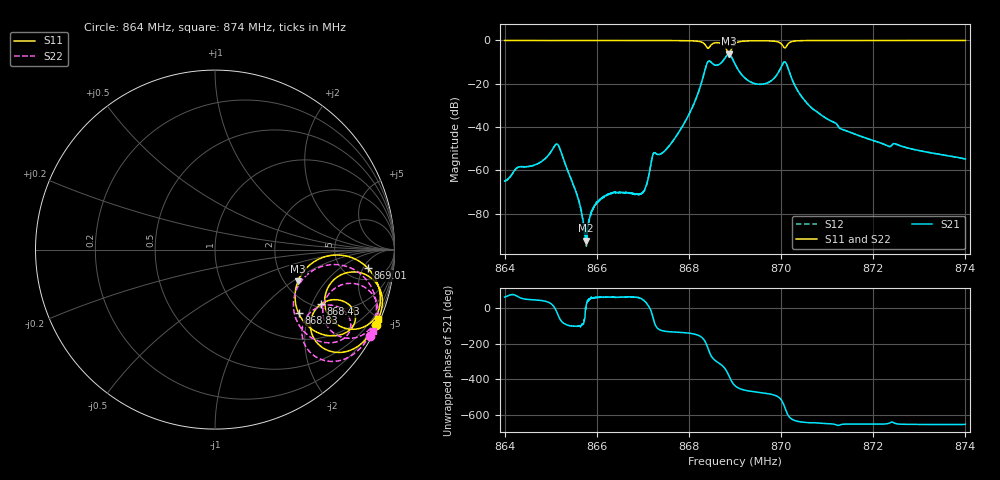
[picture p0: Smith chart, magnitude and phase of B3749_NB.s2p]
! Matrix data file written by TouchstoneData, EPCOS AG
! FILENAME: "B3749_NB.s2p"
! COMMENT: "(B3749_NB.s2p) EPCOS AG 12.10.2011 09:56:13"
! INFO: nport=2, nfreq=1601
! DATE: "Thu Nov 17 12:38:10 2011"
! USER: "Wilfried Schott"
! port | pin | signal
!  1  |  2  |  IN
!  2  |  4  |  OUT
# MHZ S MA R 50
! freq  magS11 angS11  magS21 angS21  magS12 angS12  magS22 angS22
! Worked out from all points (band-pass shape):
!   1601 points, 864 MHz to 874 MHz, reference 50 ohm
!   highest |S21| = -6.48 dB at 868.86 MHz (marker M1); lowest = -92.3 dB at 865.76 MHz (marker M2)
!   |S21| within 3 dB of the highest: 868.7387 MHz to 868.9661 MHz (227.4 kHz wide, 0.0262 % of centre)
!   lowest |S11| = -6.1 dB at 868.87 MHz (marker M3), VSWR 2.96, Z = 118 - j54.9 ohm
!   |S11| at or under -10 dB: nowhere
!   |S22| runs from -5.9 to -0.1 dB; largest |S21 - S12| = 0.00058
!   S11 on the Smith chart (normalised r, x): 864 MHz: 0.12, -4.47; 868.43 MHz: 2.15, -2.34; 868.83 MHz: 1.60, -1.72; 869.01 MHz: 8, -6; 874 MHz: 0.14, -4.88
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864  0.9886 -25.2  0.0005703 61.4  0.0005644 61.0  0.9891 -29.2
865.1375  0.9837 -25.6  0.00406 -26.0  0.004044 -26.2  0.9834 -29.7
865.6688  0.987 -25.8  0.0001112 -98.7  0.0001159 -93.3  0.9865 -29.9
865.7625  0.9869 -25.9  2.436e-05 -6.9  2.684e-05 -15.0  0.9863 -30.0
866.2625  0.9863 -26.3  0.0002795 61.8  0.0002857 62.7  0.9857 -30.4
866.975  0.9854 -27.2  0.0002893 52.3  0.0002899 50.6  0.9846 -31.3
867.225  0.9826 -27.7  0.002428 -58.3  0.002426 -58.3  0.9816 -31.8
867.3375  0.9839 -27.9  0.002327 -117.9  0.002321 -117.8  0.9832 -32.1
867.9438  0.976 -31.2  0.01495 -139.5  0.01496 -139.5  0.9749 -35.4
868.2938  0.8918 -40.0  0.1265 -168.1  0.1266 -168.0  0.8868 -44.5
868.4312  0.6644 -27.2  0.3322 120.2  0.3324 120.1  0.6471 -30.6
868.5875  0.8778 -27.4  0.2652 61.7  0.2653 61.7  0.8759 -30.8
868.825  0.5851 -37.3  0.4479 2.2  0.4482 2.2  0.5922 -40.5
868.8625  0.4966 -24.0  0.4744 -17.7  0.4746 -17.7  0.5071 -27.7
868.8687  0.4947 -20.8  0.4742 -21.3  0.4744 -21.3  0.5054 -24.6
869  0.8379 -5.9  0.2833 -76.8  0.2834 -76.7  0.8402 -10.3
869.0125  0.856 -6.8  0.2668 -79.5  0.2669 -79.5  0.858 -11.1
869.5625  0.9729 -21.5  0.09648 -115.5  0.09654 -115.5  0.9727 -25.6
870.0875  0.6645 -18.3  0.3161 156.0  0.3161 155.9  0.6771 -22.5
870.6688  0.9848 -19.4  0.02722 75.1  0.02722 75.1  0.9846 -23.6
872.3375  0.9886 -22.4  0.003594 71.8  0.003594 71.7  0.9878 -26.6
874  0.9888 -23.2  0.001829 66.0  0.001829 65.7  0.988 -27.3
